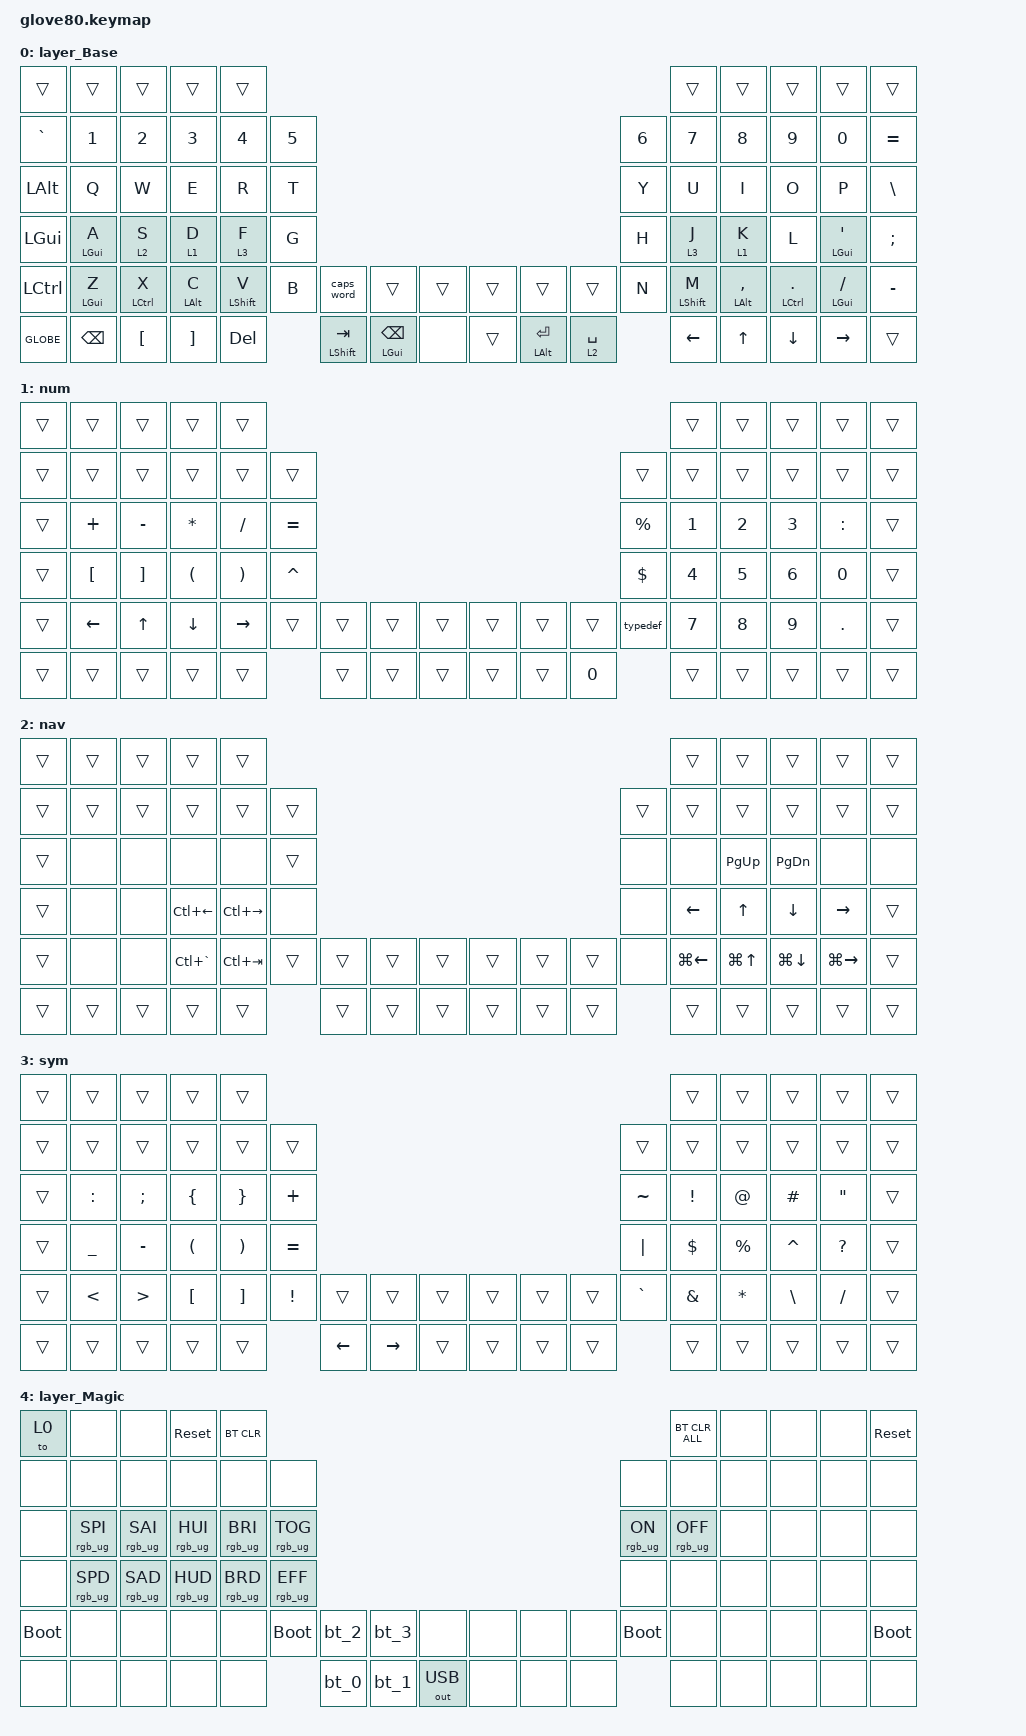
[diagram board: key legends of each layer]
/*
 * Copyright (c) 2020 The ZMK Contributors
 * Copyright (c) 2023 Innaworks Development Limited, trading as MoErgo
 *
 * SPDX-License-Identifier: MIT
 */
/* THIS FILE WAS GENERATED BY GLOVE80 LAYOUT EDITOR
 *
 * This file was generated automatically. You may or may not want to
 * edit it directly.
 */
/* Include all behaviour includes needed */

#include <behaviors.dtsi>
#include <dt-bindings/zmk/bt.h>
#include <dt-bindings/zmk/keys.h>
#include <dt-bindings/zmk/outputs.h>
#include <dt-bindings/zmk/rgb.h>

/* Automatically generated layer name #define */

#define HYPER(keycode) LS(LC(LA(LG(keycode))))
#define MEH(keycode) LS(LC(LA(keycode)))

/* #define layers */

#define LAYER_Base 0
#define LAYER_Nav 1
#define LAYER_Num 2
#define LAYER_Symbols 3
#define LAYER_Magic 4

/* #define for key positions */

#define POS_LH_T1 52
#define POS_LH_T2 53
#define POS_LH_T3 54
#define POS_LH_T4 69
#define POS_LH_T5 70
#define POS_LH_T6 71
#define POS_LH_C1R2 15
#define POS_LH_C1R3 27
#define POS_LH_C1R4 39
#define POS_LH_C1R5 51
#define POS_LH_C2R1 4
#define POS_LH_C2R2 14
#define POS_LH_C2R3 26
#define POS_LH_C2R4 38
#define POS_LH_C2R5 50
#define POS_LH_C2R6 68
#define POS_LH_C3R1 3
#define POS_LH_C3R2 13
#define POS_LH_C3R3 25
#define POS_LH_C3R4 37
#define POS_LH_C3R5 49
#define POS_LH_C3R6 67
#define POS_LH_C4R1 2
#define POS_LH_C4R2 12
#define POS_LH_C4R3 24
#define POS_LH_C4R4 36
#define POS_LH_C4R5 48
#define POS_LH_C4R6 66
#define POS_LH_C5R1 1
#define POS_LH_C5R2 11
#define POS_LH_C5R3 23
#define POS_LH_C5R4 35
#define POS_LH_C5R5 47
#define POS_LH_C5R6 65
#define POS_LH_C6R1 0
#define POS_LH_C6R2 10
#define POS_LH_C6R3 22
#define POS_LH_C6R4 34
#define POS_LH_C6R5 46
#define POS_LH_C6R6 64
#define POS_RH_T1 57
#define POS_RH_T2 56
#define POS_RH_T3 55
#define POS_RH_T4 74
#define POS_RH_T5 73
#define POS_RH_T6 72
#define POS_RH_C1R2 16
#define POS_RH_C1R3 28
#define POS_RH_C1R4 40
#define POS_RH_C1R5 58
#define POS_RH_C2R1 5
#define POS_RH_C2R2 17
#define POS_RH_C2R3 29
#define POS_RH_C2R4 41
#define POS_RH_C2R5 59
#define POS_RH_C2R6 75
#define POS_RH_C3R1 6
#define POS_RH_C3R2 18
#define POS_RH_C3R3 30
#define POS_RH_C3R4 42
#define POS_RH_C3R5 60
#define POS_RH_C3R6 76
#define POS_RH_C4R1 7
#define POS_RH_C4R2 19
#define POS_RH_C4R3 31
#define POS_RH_C4R4 43
#define POS_RH_C4R5 61
#define POS_RH_C4R6 77
#define POS_RH_C5R1 8
#define POS_RH_C5R2 20
#define POS_RH_C5R3 32
#define POS_RH_C5R4 44
#define POS_RH_C5R5 62
#define POS_RH_C5R6 78
#define POS_RH_C6R1 9
#define POS_RH_C6R2 21
#define POS_RH_C6R3 33
#define POS_RH_C6R4 45
#define POS_RH_C6R5 63
#define POS_RH_C6R6 79

// NOTE: I removed "C" (POS_LH_C3R4) and "D" (POS_LH_C3R5) from `KEYS_LEFT` so I can still do one-handed CTRL-C and CTRL-D

#define KEYS_LEFT POS_LH_C1R2 POS_LH_C1R3 POS_LH_C1R4 POS_LH_C1R5 POS_LH_C2R1 POS_LH_C2R2 POS_LH_C2R3 POS_LH_C2R4 POS_LH_C2R5 POS_LH_C2R6 POS_LH_C3R1 POS_LH_C3R2 POS_LH_C3R3 POS_LH_C3R6 POS_LH_C4R1 POS_LH_C4R2 POS_LH_C4R3 POS_LH_C4R4 POS_LH_C4R5 POS_LH_C4R6 POS_LH_C5R1 POS_LH_C5R2 POS_LH_C5R3 POS_LH_C5R4 POS_LH_C5R5 POS_LH_C5R6 POS_LH_C6R1 POS_LH_C6R2 POS_LH_C6R3 POS_LH_C6R4 POS_LH_C6R5 POS_LH_C6R6
#define KEYS_RIGHT POS_RH_C1R2 POS_RH_C1R3 POS_RH_C1R4 POS_RH_C1R5 POS_RH_C2R1 POS_RH_C2R2 POS_RH_C2R3 POS_RH_C2R4 POS_RH_C2R5 POS_RH_C2R6 POS_RH_C3R1 POS_RH_C3R2 POS_RH_C3R3 POS_RH_C3R4 POS_RH_C3R5 POS_RH_C3R6 POS_RH_C4R1 POS_RH_C4R2 POS_RH_C4R3 POS_RH_C4R4 POS_RH_C4R5 POS_RH_C4R6 POS_RH_C5R1 POS_RH_C5R2 POS_RH_C5R3 POS_RH_C5R4 POS_RH_C5R5 POS_RH_C5R6 POS_RH_C6R1 POS_RH_C6R2 POS_RH_C6R3 POS_RH_C6R4 POS_RH_C6R5 POS_RH_C6R6
#define THUMBS POS_RH_T1 POS_RH_T2 POS_RH_T3 POS_RH_T4 POS_RH_T5 POS_RH_T6 POS_LH_T1 POS_LH_T2 POS_LH_T3 POS_LH_T4 POS_LH_T5 POS_LH_T6

/ {
    /* Glove80 system behavior & macros */

    behaviors {
        // For the "layer" key, it'd nice to be able to use it as either a shift or a toggle.
        // Configure it as a tap dance, so the first tap (or hold) is a &mo and the second tap is a &to

        lower: lower {
            compatible = "zmk,behavior-tap-dance";
            label = "LAYER_TAP_DANCE";
            #binding-cells = <0>;
            tapping-term-ms = <200>;
            bindings = <&mo 0>, <&to 0>;
        };

        rpi: require_prior_idle {
            compatible = "zmk,behavior-hold-tap";
            label = "REQUIRE_PRIOR_IDLE";
            #binding-cells = <2>;
            flavor = "tap-preferred";
            tapping-term-ms = <175>;
            quick-tap-ms = <150>;
            require-prior-idle-ms = <125>;
            bindings = <&kp>, <&kp>;
        };

        hml: hold_tap_left {
            compatible = "zmk,behavior-hold-tap";
            label = "HRM_HOLD_TAP_LEFT";
            flavor = "tap-preferred";
            tapping-term-ms = <250>;
            quick-tap-ms = <175>;
            require-prior-idle-ms = <150>;
            #binding-cells = <2>;
            bindings = <&kp>, <&kp>;

            hold-trigger-key-positions = <KEYS_RIGHT THUMBS>;
            hold-trigger-on-release;
        };

        hmr: hold_tap_right {
            compatible = "zmk,behavior-hold-tap";
            label = "HRM_HOLD_TAP_RIGHT";
            flavor = "tap-preferred";
            tapping-term-ms = <280>;
            quick-tap-ms = <175>;
            require-prior-idle-ms = <150>;
            #binding-cells = <2>;
            bindings = <&kp>, <&kp>;

            hold-trigger-key-positions = <KEYS_LEFT THUMBS>;
            hold-trigger-on-release;
        };

        qt: quick_tap {
            compatible = "zmk,behavior-hold-tap";
            label = "QUICK_TAP";
            flavor = "balanced";
            tapping-term-ms = <200>;
            quick-tap-ms = <175>;
            require-prior-idle-ms = <150>;
            #binding-cells = <2>;
            bindings = <&sk>, <&kp>;

            hold-trigger-on-release;
        };

        ht: hold_tap {
            compatible = "zmk,behavior-hold-tap";
            label = "HOLD_TAP";
            bindings = <&kp>, <&kp>;

            #binding-cells = <2>;
            tapping-term-ms = <220>;
            quick-tap-ms = <150>;
            flavor = "tap-preferred";
        };

        hold_temp_layer: hold_temp_layer {
            compatible = "zmk,behavior-hold-tap";
            label = "HOLD_TEMP_LAYER";
            bindings = <&mo>, <&tog>;

            #binding-cells = <2>;
            tapping-term-ms = <220>;
            quick-tap-ms = <150>;
        };

        ht_pref_hold: ht_pref_hold {
            compatible = "zmk,behavior-hold-tap";
            label = "HT_PREF_HOLD";
            bindings = <&kp>, <&kp>;

            #binding-cells = <2>;
            tapping-term-ms = <220>;
            quick-tap-ms = <150>;
            flavor = "hold-preferred";
            retro-tap;
        };
    };
};

/ {
    macros {
        rgb_ug_status_macro: rgb_ug_status_macro {
            label = "RGB_UG_STATUS";
            compatible = "zmk,behavior-macro";
            #binding-cells = <0>;
            bindings = <&rgb_ug RGB_STATUS>;
        };

        bt_0: bt_0 {
            label = "BT_0";
            compatible = "zmk,behavior-macro";
            #binding-cells = <0>;
            bindings = <&out OUT_BLE &bt BT_SEL 0>;
        };

        bt_1: bt_1 {
            label = "BT_1";
            compatible = "zmk,behavior-macro";
            #binding-cells = <0>;
            bindings = <&out OUT_BLE &bt BT_SEL 1>;
        };

        bt_2: bt_2 {
            label = "BT_2";
            compatible = "zmk,behavior-macro";
            #binding-cells = <0>;
            bindings = <&out OUT_BLE &bt BT_SEL 2>;
        };

        bt_3: bt_3 {
            label = "BT_3";
            compatible = "zmk,behavior-macro";
            #binding-cells = <0>;
            bindings = <&out OUT_BLE &bt BT_SEL 3>;
        };

        select_cur_line: select_cur_line {
            compatible = "zmk,behavior-macro";
            #binding-cells = <0>;
            bindings =
                <&kp LG(LEFT)>,
                <&macro_press>,
                <&kp LEFT_SHIFT>,
                <&macro_tap>,
                <&kp LG(RIGHT)>,
                <&macro_release>,
                <&kp LEFT_SHIFT>;

            label = "SELECT_CUR_LINE";
        };

        typedef: typedef {
            compatible = "zmk,behavior-macro";
            #binding-cells = <0>;
            bindings = <&none &kp UNDER &kp T>;
            label = "TYPEDEF";
        };
    };
};

/ {
    magic: magic {
        compatible = "zmk,behavior-hold-tap";
        label = "MAGIC_HOLD_TAP";
        #binding-cells = <2>;
        flavor = "tap-preferred";
        tapping-term-ms = <200>;
        bindings = <&mo>, <&rgb_ug_status_macro>;
    };
};

/* Custom Defined Behaviors */

/ {
    macro_codeblock: macro_codeblock {
        compatible = "zmk,behavior-macro";
        label = "macro_codeblock";
        #binding-cells = <0>;
        wait-ms = <30>;
        tap-ms = <40>;
        bindings = <&kp GRAVE &kp GRAVE &kp GRAVE &kp LS(ENTER) &kp GRAVE &kp GRAVE &kp GRAVE &kp UP &kp LS(ENTER)>;
    };

    macro_vimsbb: macro_vim_select_between_brackets {
        compatible = "zmk,behavior-macro";
        label = "macro_vimsbb";
        #binding-cells = <0>;
        wait-ms = <30>;
        tap-ms = <40>;
        bindings = <&kp LS(N4) &kp H &kp LS(V) &kp PERCENT>;
    };

    macro_tmux_vim: macro_tmux_vim {
        compatible = "zmk,behavior-macro";
        label = "macro_tmux_vim";
        #binding-cells = <0>;
        wait-ms = <30>;
        tap-ms = <40>;
        bindings = <&kp LG(S) &kp LBKT>;
    };

    mo_rgb: mo_rgb {
        label = "LAYER_MOD";
        compatible = "zmk,behavior-macro";
        wait-ms = <0>;
        tap-ms = <0>;
        #binding-cells = <0>;
        bindings =
            <&macro_press>,
            <&mo 3>,
            <&macro_tap>,
            <&rgb_ug RGB_COLOR_HSB(128,100,100)>,
            <&macro_pause_for_release>,
            <&macro_release>,
            <&mo 3>,
            <&macro_tap>,
            <&rgb_ug RGB_COLOR_HSB(300,100,50)>;
    };
};

/ {
    behaviors {
    };

    combos {
        compatible = "zmk,combos";

        magic_layer {
            bindings = <&magic 4 0>;
            key-positions = <68 65>;
            layers = <0>;
            require-prior-idle-ms = <200>;
        };

        escape-combo {
            bindings = <&kp ESC>;
            key-positions = <38 36>;
        };

        backspace {
            bindings = <&kp BACKSPACE>;
            key-positions = <37 36>;
        };

        enter-right {
            bindings = <&kp ENTER>;
            key-positions = <42 43>;
        };

        hyphen {
            bindings = <&kp MINUS>;
            key-positions = <41 42>;
        };

        delete {
            bindings = <&kp DEL>;
            key-positions = <38 37>;
        };

        capsword {
            bindings = <&caps_word>;
            key-positions = <41 43>;
        };

        space-left {
            bindings = <&kp LC(LEFT)>;
            key-positions = <36 25>;
            require-prior-idle-ms = <400>;
        };

        space-right {
            bindings = <&kp LC(RIGHT)>;
            key-positions = <38 25>;
            require-prior-idle-ms = <400>;
        };

        tab-prev {
            bindings = <&kp LC(GRAVE)>;
            key-positions = <48 37>;
        };

        tab-next {
            bindings = <&kp LC(TAB)>;
            key-positions = <50 37>;
        };

        volume-up {
            bindings = <&kp C_VOLUME_UP>;
            key-positions = <28 29>;
        };

        volume-down {
            bindings = <&kp C_VOL_DN>;
            key-positions = <58 59>;
        };

        play-pause {
            bindings = <&kp C_PLAY_PAUSE>;
            key-positions = <40 41>;
        };

        copy {
            bindings = <&kp LG(C)>;
            key-positions = <48 49>;
        };

        paste {
            bindings = <&kp LG(V)>;
            key-positions = <50 49>;
        };

        cut {
            bindings = <&kp LG(X)>;
            key-positions = <48 50>;
        };

        select_cur_line {
            bindings = <&select_cur_line>;
            key-positions = <50 49 48>;
        };

        goto-numbers {
            bindings = <&tog 1>;
            key-positions = <70 73>;
        };

        homerow-open {
            bindings = <&kp LS(LG(SPACE))>;
            key-positions = <38 41>;
        };

        open-app {
            bindings = <&kp LC(SPACE)>;
            key-positions = <37 42>;
        };

        screenshot {
            bindings = <&kp LS(LG(NUMBER_4))>;
            key-positions = <26 23>;
        };
    };

    keymap {
        compatible = "zmk,keymap";

        layer_Base {
            bindings = <
&trans            &trans           &trans               &trans             &trans                                                                                                                                    &trans             &trans               &trans                 &trans               &trans
&kp GRAVE         &kp N1           &kp N2               &kp N3             &kp N4             &kp N5                                                                                                         &kp N6  &kp N7             &kp N8               &kp N9                 &kp N0               &kp EQUAL
&kp LEFT_ALT      &kp Q            &kp W                &kp E              &kp R              &kp T                                                                                                          &kp Y   &kp U              &kp I                &kp O                  &kp P                &kp BACKSLASH
&kp LGUI          &hml LEFT_GUI A  &lt 2 S              &lt 1 D            &lt 3 F            &kp G                                                                                                          &kp H   &lt 3 J            &lt 1 K              &kp L                  &hmr LEFT_GUI SQT    &kp SEMICOLON
&kp LEFT_CONTROL  &hml LEFT_GUI Z  &hml LEFT_CONTROL X  &hml LEFT_ALT C    &hml LEFT_SHIFT V  &kp B   &caps_word                    &trans                  &trans  &trans  &trans              &trans       &kp N   &hmr LEFT_SHIFT M  &hmr LEFT_ALT COMMA  &hmr LEFT_CONTROL DOT  &hmr LEFT_GUI SLASH  &kp MINUS
&kp GLOBE         &kp BACKSPACE    &kp LEFT_BRACKET     &kp RIGHT_BRACKET  &kp DEL                    &ht_pref_hold LEFT_SHIFT TAB  &ht LEFT_GUI BACKSPACE  &none   &trans  &ht LEFT_ALT ENTER  &lt 2 SPACE          &kp LEFT           &kp UP_ARROW         &kp DOWN               &kp RIGHT            &trans
            >;
        };

        num {
            bindings = <
&trans  &trans            &trans             &trans                &trans                                                                                               &trans        &trans        &trans        &trans        &trans
&trans  &trans            &trans             &trans                &trans                 &trans                                                           &trans       &trans        &trans        &trans        &trans        &trans
&trans  &kp PLUS          &kp MINUS          &kp ASTRK             &kp SLASH              &kp EQUAL                                                        &kp PERCENT  &kp NUMBER_1  &kp NUMBER_2  &kp NUMBER_3  &kp COLON     &trans
&trans  &kp LEFT_BRACKET  &kp RIGHT_BRACKET  &kp LEFT_PARENTHESIS  &kp RIGHT_PARENTHESIS  &kp CARET                                                        &kp DOLLAR   &kp NUMBER_4  &kp NUMBER_5  &kp NUMBER_6  &kp NUMBER_0  &trans
&trans  &kp LEFT          &kp UP             &kp DOWN              &kp RIGHT              &trans     &trans  &trans  &trans  &trans  &trans  &trans        &typedef     &kp NUMBER_7  &kp NUMBER_8  &kp NUMBER_9  &kp PERIOD    &trans
&trans  &trans            &trans             &trans                &trans                            &trans  &trans  &trans  &trans  &trans  &kp NUMBER_0               &trans        &trans        &trans        &trans        &trans
            >;
        };

        nav {
            bindings = <
&trans  &trans  &trans  &trans         &trans                                                                         &trans        &trans            &trans        &trans         &trans
&trans  &trans  &trans  &trans         &trans         &trans                                                  &trans  &trans        &trans            &trans        &trans         &trans
&trans  &none   &none   &none          &none          &trans                                                  &none   &none         &kp PG_UP         &kp PG_DN     &none          &none
&trans  &none   &none   &kp LC(LEFT)   &kp LC(RIGHT)  &none                                                   &none   &kp LEFT      &kp UP_ARROW      &kp DOWN      &kp RIGHT      &trans
&trans  &none   &none   &kp LC(GRAVE)  &kp LC(TAB)    &trans  &trans  &trans  &trans  &trans  &trans  &trans  &none   &kp LG(LEFT)  &kp LG(UP_ARROW)  &kp LG(DOWN)  &kp LG(RIGHT)  &trans
&trans  &trans  &trans  &trans         &trans                 &trans  &trans  &trans  &trans  &trans  &trans          &trans        &trans            &trans        &trans         &trans
            >;
        };

        sym {
            bindings = <
&trans  &trans         &trans            &trans                &trans                                                                                                  &trans           &trans        &trans         &trans             &trans
&trans  &trans         &trans            &trans                &trans                 &trans                                                                &trans     &trans           &trans        &trans         &trans             &trans
&trans  &kp COLON      &kp SEMI          &kp LEFT_BRACE        &kp RIGHT_BRACE        &kp PLUS                                                              &kp TILDE  &kp EXCLAMATION  &kp AT_SIGN   &kp HASH       &kp DOUBLE_QUOTES  &trans
&trans  &kp UNDER      &kp MINUS         &kp LEFT_PARENTHESIS  &kp RIGHT_PARENTHESIS  &kp EQUAL                                                             &kp PIPE   &kp DOLLAR       &kp PERCENT   &kp CARET      &kp QUESTION       &trans
&trans  &kp LESS_THAN  &kp GREATER_THAN  &kp LEFT_BRACKET      &kp RIGHT_BRACKET      &kp EXCLAMATION  &trans    &trans     &trans  &trans  &trans  &trans  &kp GRAVE  &kp AMPERSAND    &kp ASTERISK  &kp BACKSLASH  &kp SLASH          &trans
&trans  &trans         &trans            &trans                &trans                                  &kp LEFT  &kp RIGHT  &trans  &trans  &trans  &trans             &trans           &trans        &trans         &trans             &trans
            >;
        };

        layer_Magic {
            bindings = <
&to 0        &none            &none            &sys_reset       &bt BT_CLR                                                                                         &bt BT_CLR_ALL   &none  &none  &none  &sys_reset
&none        &none            &none            &none            &none            &none                                                             &none           &none            &none  &none  &none  &none
&none        &rgb_ug RGB_SPI  &rgb_ug RGB_SAI  &rgb_ug RGB_HUI  &rgb_ug RGB_BRI  &rgb_ug RGB_TOG                                                   &rgb_ug RGB_ON  &rgb_ug RGB_OFF  &none  &none  &none  &none
&none        &rgb_ug RGB_SPD  &rgb_ug RGB_SAD  &rgb_ug RGB_HUD  &rgb_ug RGB_BRD  &rgb_ug RGB_EFF                                                   &none           &none            &none  &none  &none  &none
&bootloader  &none            &none            &none            &none            &bootloader      &bt_2  &bt_3  &none         &none  &none  &none  &bootloader     &none            &none  &none  &none  &bootloader
&none        &none            &none            &none            &none                             &bt_0  &bt_1  &out OUT_USB  &none  &none  &none                  &none            &none  &none  &none  &none
            >;
        };
    };
};
